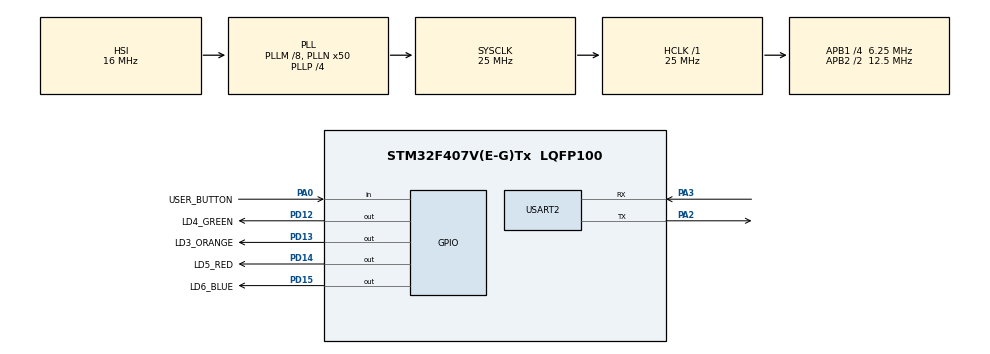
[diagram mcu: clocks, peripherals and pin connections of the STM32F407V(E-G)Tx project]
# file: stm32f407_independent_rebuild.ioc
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Mcu.Family=STM32F4
Mcu.Name=STM32F407V(E-G)Tx
Mcu.Package=LQFP100
NVIC.PriorityGroup=NVIC_PRIORITYGROUP_0
PA0-WKUP.GPIO_Label=USER_BUTTON
PA0-WKUP.Signal=GPIO_Input
PA2.Mode=Asynchronous
PA2.Signal=USART2_TX
PA3.Mode=Asynchronous
PA3.Signal=USART2_RX
PD12.GPIO_Label=LD4_GREEN
PD12.Signal=GPIO_Output
PD13.GPIO_Label=LD3_ORANGE
PD13.Signal=GPIO_Output
PD14.GPIO_Label=LD5_RED
PD14.Signal=GPIO_Output
PD15.GPIO_Label=LD6_BLUE
PD15.Signal=GPIO_Output
ProjectManager.HeapSize=0x200
ProjectManager.StackSize=0x400
ProjectManager.TargetToolchain=STM32CubeIDE
RCC.48MHZClocksFreq_Value=14285714.285714285
RCC.AHBFreq_Value=25000000
RCC.APB1CLKDivider=RCC_HCLK_DIV4
RCC.APB1Freq_Value=6250000
RCC.APB1TimFreq_Value=12500000
RCC.APB2CLKDivider=RCC_HCLK_DIV2
RCC.APB2Freq_Value=12500000
RCC.APB2TimFreq_Value=25000000
RCC.CortexFreq_Value=25000000
RCC.HCLKFreq_Value=25000000
RCC.HSE_VALUE=8000000
RCC.HSI_VALUE=16000000
RCC.LSE_VALUE=32768
RCC.PLLM=8
RCC.PLLN=50
RCC.PLLP=RCC_PLLP_DIV4
RCC.PLLQ=7
RCC.SYSCLKFreq_VALUE=25000000
RCC.SYSCLKSource=RCC_SYSCLKSOURCE_PLLCLK
RCC.VCOOutputFreq_Value=100000000
USART2.VirtualMode=VM_ASYNC
board=STM32F407G-DISC1

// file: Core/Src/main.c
/* USER CODE BEGIN Header */
/**
  ******************************************************************************
  * @file           : main.c
  * @brief          : Main program body
  ******************************************************************************
  * @attention
  *
  * Copyright (c) 2026 STMicroelectronics.
  * All rights reserved.
  *
  * This software is licensed under terms that can be found in the LICENSE file
  * in the root directory of this software component.
  * If no LICENSE file comes with this software, it is provided AS-IS.
  *
  ******************************************************************************
  */
/* USER CODE END Header */
#include "main.h"
#include "usart.h"
#include "gpio.h"

/* USER CODE BEGIN Includes */

#include <stdio.h>
#include <string.h>

/* USER CODE END Includes */

/* USER CODE BEGIN PTD */

typedef enum
{
    MODE_IDLE,
    MODE_ACTIVE,
    MODE_ERROR_SIM
} SystemMode_t;

/* USER CODE END PTD */

void SystemClock_Config(void);

/* USER CODE BEGIN 0 */

uint32_t last_push_time = 0;
uint32_t last_uart_send_time = 0;

const char* get_mode_string(SystemMode_t mode)
{
	switch (mode)
	{
	case MODE_IDLE: return "IDLE";

	case MODE_ACTIVE: return "ACTIVE";

	case MODE_ERROR_SIM: return "ERROR_SIM";

	default: return "UNKNOWN";
	}
}

const char* get_status(SystemMode_t mode)
{
	if (mode == MODE_ERROR_SIM)
	{
		return "ERROR";
	}

	else
	{
		return "OK";
	}
}

void uart_send_and_time_check(SystemMode_t mode, uint32_t button_count)
{

	if ((HAL_GetTick() - last_uart_send_time) >= 1000)
	{
		char tx_buffer[64];

		const char *mode_string = get_mode_string(mode);

		const char *status = get_status(mode);

		last_uart_send_time = HAL_GetTick();

		int len = snprintf(
				tx_buffer,
				sizeof(tx_buffer),
				"%lu,%s,%lu,%s\r\n",
				(unsigned long)last_uart_send_time,
				mode_string,
				(unsigned long)button_count,
				status);

		HAL_UART_Transmit(&huart2, (uint8_t*)tx_buffer, len, HAL_MAX_DELAY);
	}
}

uint8_t debounce_check(void)
{
	if ((HAL_GetTick() - last_push_time) > 150)
	{
		while(HAL_GPIO_ReadPin(USER_BUTTON_GPIO_Port, USER_BUTTON_Pin) == GPIO_PIN_SET);

		last_push_time = HAL_GetTick();
		return 1;
	}

	else
	{
		return 0;
	}

}

int button_control(void)
{
	  uint8_t control = 0;

	  if (HAL_GPIO_ReadPin(USER_BUTTON_GPIO_Port, USER_BUTTON_Pin) == GPIO_PIN_SET)
	  {
		  control = debounce_check();
		  if (control == 1)
		  {
			  return 1;
		  }

		  else
		  {
			  return 0;
		  }
	  }

	  else
	  {
		  return 0;
	  }

}

uint8_t time_control(uint32_t time, SystemMode_t mode, uint32_t button_count)
{
	uint32_t start = HAL_GetTick();
	uint8_t push = 0;

	while((HAL_GetTick() - start) <= time)
	{
		push = button_control();
		uart_send_and_time_check(mode, button_count);

		if (push == 1)
		{
			return 1;
		}

	}

	return 0;
}

void turnoff_all_led(void)
{
	HAL_GPIO_WritePin(LD4_GREEN_GPIO_Port, LD4_GREEN_Pin, GPIO_PIN_RESET);
	HAL_GPIO_WritePin(LD3_ORANGE_GPIO_Port, LD3_ORANGE_Pin, GPIO_PIN_RESET);
	HAL_GPIO_WritePin(LD5_RED_GPIO_Port, LD5_RED_Pin, GPIO_PIN_RESET);
	HAL_GPIO_WritePin(LD6_BLUE_GPIO_Port, LD6_BLUE_Pin, GPIO_PIN_RESET);
}

SystemMode_t get_next_mode (SystemMode_t mode)
{
	switch(mode)
	{
	case MODE_IDLE:
		return MODE_ACTIVE;

	case MODE_ACTIVE:
		return MODE_ERROR_SIM;

	case MODE_ERROR_SIM:
		return MODE_IDLE;

	default:
		return MODE_IDLE;
	}
}

/* USER CODE END 0 */

int main(void)
{

  /* MCU Configuration--------------------------------------------------------*/

  /* Reset of all peripherals, Initializes the Flash interface and the Systick. */
  HAL_Init();

  /* Configure the system clock */
  SystemClock_Config();

  /* Initialize all configured peripherals */
  MX_GPIO_Init();
  MX_USART2_UART_Init();
  /* USER CODE BEGIN 2 */

  SystemMode_t current_mode = MODE_IDLE;
  uint32_t button_count = 0;
  uint16_t toggle_time = 500;
  uint8_t button = 0;

  turnoff_all_led();

  char header[] = "timestamp_ms,mode,button_count,status\r\n";
  HAL_UART_Transmit(&huart2, (uint8_t*)header, strlen(header), HAL_MAX_DELAY);

  /* USER CODE END 2 */

  /* Infinite loop */
  /* USER CODE BEGIN WHILE */
  while (1)
  {

	  if (current_mode == MODE_IDLE)
	  {
		  turnoff_all_led();

		  while(button == 0)
		  {
			  HAL_GPIO_TogglePin(LD4_GREEN_GPIO_Port, LD4_GREEN_Pin);
			  button = time_control(toggle_time, current_mode, button_count);
		  }

		  button_count++;
		  current_mode = get_next_mode(current_mode);
		  button = 0;
	  }

	  else if (current_mode == MODE_ACTIVE)
	  {
		  turnoff_all_led();

		  while (button == 0)
		  {
			  HAL_GPIO_TogglePin(LD6_BLUE_GPIO_Port, LD6_BLUE_Pin);
			  button = time_control(toggle_time, current_mode, button_count);
		  }

		  button_count++;
		  current_mode = get_next_mode(current_mode);
		  button = 0;
	  }

	  else if (current_mode == MODE_ERROR_SIM)
	  {
		  turnoff_all_led();

		  while (button == 0)
		  {
			  HAL_GPIO_TogglePin(LD5_RED_GPIO_Port, LD5_RED_Pin);
			  button = time_control(toggle_time, current_mode, button_count);
		  }

		  button_count++;
		  current_mode = get_next_mode(current_mode);
		  button = 0;
	  }

    /* USER CODE END WHILE */

  }
}

void SystemClock_Config(void)
{
  RCC_OscInitTypeDef RCC_OscInitStruct = {0};
  RCC_ClkInitTypeDef RCC_ClkInitStruct = {0};

  /** Configure the main internal regulator output voltage
  */
  __HAL_RCC_PWR_CLK_ENABLE();
  __HAL_PWR_VOLTAGESCALING_CONFIG(PWR_REGULATOR_VOLTAGE_SCALE1);

  /** Initializes the RCC Oscillators according to the specified parameters
  * in the RCC_OscInitTypeDef structure.
  */
  RCC_OscInitStruct.OscillatorType = RCC_OSCILLATORTYPE_HSI;
  RCC_OscInitStruct.HSIState = RCC_HSI_ON;
  RCC_OscInitStruct.HSICalibrationValue = RCC_HSICALIBRATION_DEFAULT;
  RCC_OscInitStruct.PLL.PLLState = RCC_PLL_ON;
  RCC_OscInitStruct.PLL.PLLSource = RCC_PLLSOURCE_HSI;
  RCC_OscInitStruct.PLL.PLLM = 8;
  RCC_OscInitStruct.PLL.PLLN = 50;
  RCC_OscInitStruct.PLL.PLLP = RCC_PLLP_DIV4;
  RCC_OscInitStruct.PLL.PLLQ = 7;
  if (HAL_RCC_OscConfig(&RCC_OscInitStruct) != HAL_OK)
  {
    Error_Handler();
  }

  /** Initializes the CPU, AHB and APB buses clocks
  */
  RCC_ClkInitStruct.ClockType = RCC_CLOCKTYPE_HCLK|RCC_CLOCKTYPE_SYSCLK
                              |RCC_CLOCKTYPE_PCLK1|RCC_CLOCKTYPE_PCLK2;
  RCC_ClkInitStruct.SYSCLKSource = RCC_SYSCLKSOURCE_PLLCLK;
  RCC_ClkInitStruct.AHBCLKDivider = RCC_SYSCLK_DIV1;
  RCC_ClkInitStruct.APB1CLKDivider = RCC_HCLK_DIV4;
  RCC_ClkInitStruct.APB2CLKDivider = RCC_HCLK_DIV2;

  if (HAL_RCC_ClockConfig(&RCC_ClkInitStruct, FLASH_LATENCY_0) != HAL_OK)
  {
    Error_Handler();
  }
}

void Error_Handler(void)
{
  __disable_irq();
  while (1)
  {
  }
}
